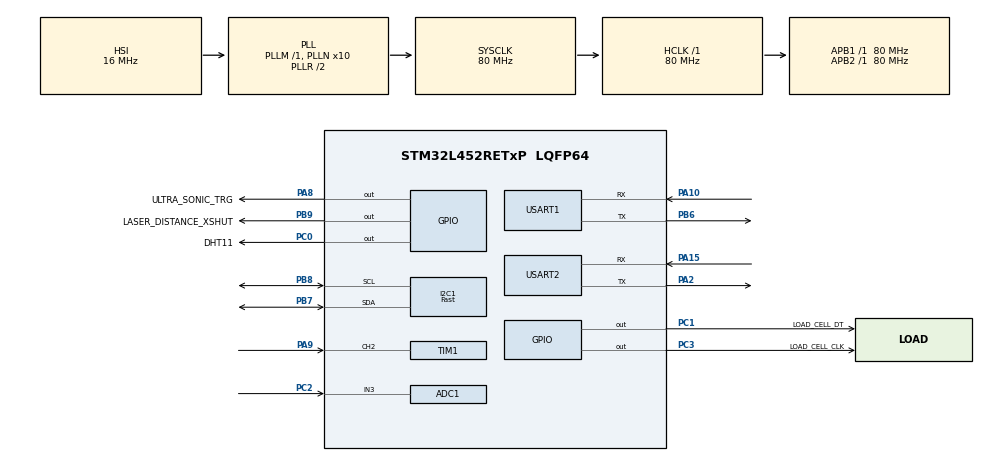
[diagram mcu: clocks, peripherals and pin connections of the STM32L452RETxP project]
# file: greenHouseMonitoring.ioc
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ADC1.Channel-4\#ChannelRegularConversion=ADC_CHANNEL_3
ADC1.NbrOfConversionFlag=1
ADC1.OffsetNumber-4\#ChannelRegularConversion=ADC_OFFSET_NONE
ADC1.Rank-4\#ChannelRegularConversion=1
ADC1.SamplingTime-4\#ChannelRegularConversion=ADC_SAMPLETIME_12CYCLES_5
ADC1.master=1
I2C1.I2C_Speed_Mode=I2C_Fast
I2C1.Timing=0x00702991
Mcu.Family=STM32L4
Mcu.Name=STM32L452RETxP
Mcu.Package=LQFP64
NVIC.PriorityGroup=NVIC_PRIORITYGROUP_4
NVIC.TIM1_CC_IRQn=true\:0\:0\:false\:false\:true\:true\:true
NVIC.USART1_IRQn=true\:0\:0\:false\:false\:true\:true\:true
PA10.Mode=Asynchronous
PA10.Signal=USART1_RX
PA15\ (JTDI).Mode=Asynchronous
PA15\ (JTDI).Signal=USART2_RX
PA2.Mode=Asynchronous
PA2.Signal=USART2_TX
PA8.GPIO_Label=ULTRA_SONIC_TRG
PA8.Signal=GPIO_Output
PA9.Signal=S_TIM1_CH2
PB6.Mode=Asynchronous
PB6.Signal=USART1_TX
PB7.Mode=I2C
PB7.Signal=I2C1_SDA
PB8.Mode=I2C
PB8.Signal=I2C1_SCL
PB9.GPIO_Label=LASER_DISTANCE_XSHUT
PB9.Signal=GPIO_Output
PC0.GPIO_Label=DHT11
PC0.Signal=GPIO_Output
PC1.GPIO_Label=LOAD_CELL_DT
PC1.Signal=GPIO_Output
PC2.Signal=ADCx_IN3
PC3.GPIO_Label=LOAD_CELL_CLK
PC3.Signal=GPIO_Output
ProjectManager.HeapSize=0x200
ProjectManager.StackSize=0x400
ProjectManager.TargetToolchain=TrueSTUDIO
RCC.ADCFreq_Value=64000000
RCC.AHBFreq_Value=80000000
RCC.APB1Freq_Value=80000000
RCC.APB1TimFreq_Value=80000000
RCC.APB2Freq_Value=80000000
RCC.APB2TimFreq_Value=80000000
RCC.CortexFreq_Value=80000000
RCC.HCLKFreq_Value=80000000
RCC.HSE_VALUE=8000000
RCC.HSI48_VALUE=48000000
RCC.HSI_VALUE=16000000
RCC.LSE_VALUE=32768
RCC.MSI_VALUE=4000000
RCC.PLLN=10
RCC.PLLSourceVirtual=RCC_PLLSOURCE_HSI
RCC.PREFETCH_ENABLE=1
RCC.SYSCLKFreq_VALUE=80000000
RCC.SYSCLKSource=RCC_SYSCLKSOURCE_PLLCLK
RCC.USBFreq_Value=64000000
RCC.VCOOutputFreq_Value=160000000
SH.ADCx_IN3.0=ADC1_IN3,IN3-Single-Ended
SH.S_TIM1_CH2.0=TIM1_CH2,Input_Capture2_from_TI2
TIM1.Channel-Input_Capture2_from_TI2=TIM_CHANNEL_2
TIM1.Prescaler=80-1
TIM6.Prescaler=80-1
USART1.VirtualMode-Asynchronous=VM_ASYNC
USART2.VirtualMode-Asynchronous=VM_ASYNC
VP_RTC_VS_RTC_Activate.Mode=RTC_Enabled
VP_TIM6_VS_ClockSourceINT.Mode=Enable_Timer
board=NUCLEO-L452RE-P

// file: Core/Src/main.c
/* USER CODE BEGIN Header */
/**
  ******************************************************************************
  * @file           : main.c
  * @brief          : Main program body
  ******************************************************************************
  * @attention
  *
  * <h2><center>&copy; Copyright (c) 2021 STMicroelectronics.
  * All rights reserved.</center></h2>
  *
  * This software component is licensed by ST under BSD 3-Clause license,
  * the "License"; You may not use this file except in compliance with the
  * License. You may obtain a copy of the License at:
  *                        opensource.org/licenses/BSD-3-Clause
  *
  ******************************************************************************
  */
/* USER CODE END Header */
#include "main.h"

/* USER CODE BEGIN Includes */
#include "stm32l452xx.h"
#include "stdio.h"
#include "string.h"
#include "VL53L0X.h"
#include "I2CDev.h"
#include "mk_dht11.h"
#include "hx711.h"
/* USER CODE END Includes */

/* USER CODE BEGIN PTD */

// sensor meresi adatok strukturaja
typedef struct
{
  uint16_t laser_sensor_distance;
  uint16_t ultra_sonic_sensor_distance;
  uint8_t temperature;
  uint8_t humidity;
  unsigned long weight;
  uint16_t moisture;
} SENSOR_VALUES_TYPE;

/* USER CODE END PTD */

/* USER CODE BEGIN PD */
#define LOAD_CELL_SCALE 379
#define DEVICE_ID 1
/* USER CODE END PD */

ADC_HandleTypeDef hadc1;

I2C_HandleTypeDef hi2c1;

RTC_HandleTypeDef hrtc;

TIM_HandleTypeDef htim1;
TIM_HandleTypeDef htim6;

UART_HandleTypeDef huart1;
UART_HandleTypeDef huart2;

/* USER CODE BEGIN PV */
// sensor struct peldany
SENSOR_VALUES_TYPE sensor_values;

// uj sor a kiiratas fuggvenyhez
char newLine [] = "\n\r";

// realtime clock datum es ido
RTC_DateTypeDef rtc_date;
RTC_TimeTypeDef rtc_time;

// meresi idokoz percben
uint8_t measurement_time = 10;

// laser distance sensor struct peldany
VL53L0X sensor1;

// ultra sonic sensor segedvaltozok
uint32_t ultra_sonic_rising = 0;
uint32_t ultra_sonic_falling = 0;
uint32_t ultrasonic_difference = 0;
uint8_t ultra_sonic_frist_captured = 0;

// DHT11-MK sensor struct peldany
dht11_t dht_sensor;

// HX711 loadcell struct peldany
HX711 loadcell_sensor;

// UART-on erkezett adatok tarolasa
char uart_buffer[10] = "";

// azonnali meres kezdemenyezese
uint8_t rapidMeasure;
/* USER CODE END PV */

void SystemClock_Config(void);
static void MX_GPIO_Init(void);
static void MX_ADC1_Init(void);
static void MX_I2C1_Init(void);
static void MX_RTC_Init(void);
static void MX_TIM1_Init(void);
static void MX_USART1_UART_Init(void);
static void MX_USART2_UART_Init(void);
static void MX_TIM6_Init(void);

/* USER CODE BEGIN 0 */
 /**
  * Uzenet kiirasa consolera UART2 keresztul
  *
  * @param char message[]
  */
  void PrintMessage(char message[])
  {
	  HAL_UART_Transmit(&huart2,message, strlen(message), HAL_MAX_DELAY);
  }

  /**
   * Szam kiirasa consolera UART2 keresztul
   *
   * @param uint16_t number
   */
  void PrintNumber(uint16_t number)
    {
	  char converted_number[6];
	  sprintf(converted_number, "%d", number);
  	  PrintMessage(converted_number);
    }

  /**
   * Uj sor kiirasa consolera UART2 keresztul
   */
  void PrintNewLine()
  {
	  HAL_UART_Transmit(&huart2, (uint8_t*)newLine, sizeof(newLine), HAL_MAX_DELAY);
  }

  /**
   * RTC ido lekerdezese
   */
  void getTime()
  {
	  HAL_RTC_GetTime(&hrtc, &rtc_time, RTC_FORMAT_BIN);
	  HAL_RTC_GetDate(&hrtc, &rtc_date, RTC_FORMAT_BIN);
  }

  /**
   * Laser distance sensor inicializalasa
   */
  void initLaserDistanceSensor()
  {
	  setup_VL53L0X(&sensor1);
	  HAL_GPIO_WritePin(LASER_DISTANCE_XSHUT_GPIO_Port, LASER_DISTANCE_XSHUT_Pin, GPIO_PIN_RESET);
	  HAL_Delay(100);

	  HAL_GPIO_WritePin(LASER_DISTANCE_XSHUT_GPIO_Port, LASER_DISTANCE_XSHUT_Pin, GPIO_PIN_SET);
	  HAL_Delay(100);
	  if(!init(&sensor1,true))
	  {
			  PrintMessage("Laser Distance sensor inicializalas sikertelen");
			  PrintNewLine();
	  }
	  else
	  {
		  PrintMessage("Laser Distance sensor inicializalas sikeres");
		  PrintNewLine();
	  }
	  setTimeout(&sensor1,500);

	  setVcselPulsePeriod(&sensor1,VcselPeriodPreRange, 18);
	  setVcselPulsePeriod(&sensor1,VcselPeriodFinalRange, 14);
	  setMeasurementTimingBudget(&sensor1,200000);
  }

  /**
   * Laser distance sensor ertek beolvasas
   */
  void readLaserDistanceValue()
  {
	  sensor_values.laser_sensor_distance = readRangeSingleMillimeters(&sensor1);
  }

  /**
   * Ultrasonic distance sensor ertek beolvasas
   */
  void ultraSonicDisctanceRead(void) {
  	HAL_GPIO_WritePin(ULTRA_SONIC_TRG_GPIO_Port, ULTRA_SONIC_TRG_Pin, GPIO_PIN_SET);
  	HAL_Delay(100);
  	HAL_GPIO_WritePin(ULTRA_SONIC_TRG_GPIO_Port, ULTRA_SONIC_TRG_Pin, GPIO_PIN_RESET);
  	__HAL_TIM_ENABLE_IT(&htim1, TIM_IT_CC2);
  }

  /**
   * Homerseklet es paratartalom ertek beolvasas
   */
  void measureTemperatureAndHumidity()
  {
	  readDHT11(&dht_sensor);
	  sensor_values.temperature = dht_sensor.temperature;
	  sensor_values.humidity = dht_sensor.humidty;
  }

  /**
   * Suly cella inicializalas
   */
  void loadCellInit()
  {
	  loadcell_sensor.gpioData = LOAD_CELL_DT_GPIO_Port;
	  loadcell_sensor.gpioSck = LOAD_CELL_CLK_GPIO_Port;
	  loadcell_sensor.pinData = LOAD_CELL_DT_Pin;
	  loadcell_sensor.pinSck = LOAD_CELL_CLK_Pin;
	  loadcell_sensor.gain = 128;
	  loadcell_sensor.offset = 0;

	  HX711_Init(loadcell_sensor);
	  HAL_Delay(2000);
	  loadcell_sensor =  HX711_Tare(loadcell_sensor, 1);

  }

  /**
   * Tomeg mero cella ertek beolvasas es skalazasa
   */
  void measureWeight()
  {
	  sensor_values.weight = ((HX711_Value(loadcell_sensor) - (unsigned long)loadcell_sensor.offset) / LOAD_CELL_SCALE);
  }

  /**
   * Fold nedvesseg ertek beolvasas
   */
  void measureSoilMoisture()
  {
	  HAL_ADC_Start(&hadc1);
	  sensor_values.moisture =  HAL_ADC_GetValue(&hadc1);
	  HAL_ADC_Stop(&hadc1);
  }

  /**
   * JSON adat kuldese az ESP32 mikrovezerlonek
   */
  void sendJSONData()
  {
	  char jsonData[1000]= "";
	  sprintf(jsonData,
			  "{\"deviceId\": %d, \"laserDistance\": %d, \"sonicDistance\": %d,"
			  " \"temperature\": %d, \"humidity\": %d, \"weight\": %d, \"moisture\": %d}",
			  DEVICE_ID,
			  sensor_values.laser_sensor_distance,
			  sensor_values.ultra_sonic_sensor_distance,
			  sensor_values.temperature,
			  sensor_values.humidity,
			  sensor_values.weight,
			  sensor_values.moisture
			  );
	  HAL_UART_Transmit(&huart1, jsonData, strlen(jsonData), HAL_MAX_DELAY);
  }

  /**
   * Az osszes sensor adat beolvasasa
   */
  void measureAllData() {
	  readLaserDistanceValue();
	  PrintMessage("laser sensor ertek: ");
	  PrintNumber(sensor_values.laser_sensor_distance);
	  PrintNewLine();
	  ultraSonicDisctanceRead();
	  PrintMessage("us sensor ertek: ");
	  PrintNumber(sensor_values.ultra_sonic_sensor_distance);
	  PrintNewLine();
	  measureTemperatureAndHumidity();
	  PrintMessage("temp sensor ertek: ");
	  PrintNumber(sensor_values.temperature);
	  PrintNewLine();
	  PrintMessage("hum sensor ertek: ");
	  PrintNumber(sensor_values.humidity);
	  PrintNewLine();
	  measureWeight();
	  PrintMessage("weight sensor ertek: ");
	  PrintNumber(sensor_values.weight);
	  PrintNewLine();
	  measureSoilMoisture();
	  PrintMessage("moisture sensor ertek: ");
	  PrintNumber(sensor_values.moisture);
	  PrintNewLine();
  }

  void I2C_Read_Byte(uint8_t addr,uint8_t *data)
  {
   while (HAL_I2C_GetState(&hi2c1) != HAL_I2C_STATE_READY);
  if(HAL_I2C_Master_Transmit(&hi2c1,  SLAVE_ADDRESS<<1 , &addr,  1, 100)!=HAL_OK)
    {
        _Error_Handler(__FILE__, __LINE__);
    }
  while (HAL_I2C_GetState(&hi2c1) != HAL_I2C_STATE_READY);
  if(HAL_I2C_Master_Receive(&hi2c1, ((SLAVE_ADDRESS <<1) | 0x01), data, 1, 100)!=HAL_OK)
    {
       _Error_Handler(__FILE__, __LINE__);
    }
  }

  void I2C_Write_Byte(uint8_t addr, uint8_t data)
  {
    uint8_t buf[] = {addr, data};
    while (HAL_I2C_GetState(&hi2c1) != HAL_I2C_STATE_READY);
    if(HAL_I2C_Master_Transmit(&hi2c1, SLAVE_ADDRESS<<1, buf, 2, 100)!=HAL_OK)
      {
        _Error_Handler(__FILE__, __LINE__);
      }
  }

  void readMulti(VL53L0X * lidar,uint8_t reg, uint8_t * dst, uint8_t count)
   {
       /* Send register address */
       if (HAL_I2C_Master_Transmit(&hi2c1, SLAVE_ADDRESS<<1, &reg, 1, 1000) != HAL_OK)
         {
           {
               _Error_Handler(__FILE__, __LINE__);
           }
         }

       /* Receive multiple byte */
       if (HAL_I2C_Master_Receive(&hi2c1, ((SLAVE_ADDRESS <<1) | 0x01), dst, count, 1000) != HAL_OK)
         {
            _Error_Handler(__FILE__, __LINE__);
         }
   }

   void writeMulti(VL53L0X * lidar,uint8_t reg, uint8_t* src, uint8_t count)
   {
            /* Try to transmit via I2C */
           if(HAL_I2C_Mem_Write(&hi2c1, SLAVE_ADDRESS<<1, reg, reg>0xFF ? I2C_MEMADD_SIZE_16BIT : I2C_MEMADD_SIZE_8BIT, src, count, 1000) != HAL_OK)
               {
                  _Error_Handler(__FILE__, __LINE__);
               }

   }
/* USER CODE END 0 */

int main(void)
{

  /* MCU Configuration--------------------------------------------------------*/

  /* Reset of all peripherals, Initializes the Flash interface and the Systick. */
   HAL_Init();

  /* Configure the system clock */
  SystemClock_Config();

  /* Initialize all configured peripherals */
  MX_GPIO_Init();
  MX_ADC1_Init();
  MX_I2C1_Init();
  MX_RTC_Init();
  MX_TIM1_Init();
  MX_USART1_UART_Init();
  MX_USART2_UART_Init();
  MX_TIM6_Init();
  /* USER CODE BEGIN 2 */

  // sensor inicializalasok
  initLaserDistanceSensor();
  HAL_TIM_IC_Start_IT(&htim1, TIM_CHANNEL_2);
  init_dht11(&dht_sensor, &htim6, DHT11_GPIO_Port, DHT11_Pin);
  loadCellInit();
  measureAllData();
  HAL_UART_Receive_IT(&huart1, uart_buffer, 2);
  HAL_UART_Transmit(&huart1, "S", 1, HAL_MAX_DELAY);
  /* USER CODE END 2 */

  /* Infinite loop */
  while (1)
  {

    /* USER CODE BEGIN 3 */
	  if((rtc_time.Seconds == 0 && (rtc_time.Minutes % measurement_time) == 0))
	  {
		  measureAllData();
		  sendJSONData();
	  }

	  if(rapidMeasure == 1)
	  {
		measureAllData();
		sendJSONData();
		rapidMeasure = 0;
	  }

	  getTime();
	  HAL_Delay(1000);
  }
  /* USER CODE END 3 */
}

void SystemClock_Config(void)
{
  RCC_OscInitTypeDef RCC_OscInitStruct = {0};
  RCC_ClkInitTypeDef RCC_ClkInitStruct = {0};
  RCC_PeriphCLKInitTypeDef PeriphClkInit = {0};

  /** Initializes the RCC Oscillators according to the specified parameters
  * in the RCC_OscInitTypeDef structure.
  */
  RCC_OscInitStruct.OscillatorType = RCC_OSCILLATORTYPE_HSI|RCC_OSCILLATORTYPE_LSI;
  RCC_OscInitStruct.HSIState = RCC_HSI_ON;
  RCC_OscInitStruct.HSICalibrationValue = RCC_HSICALIBRATION_DEFAULT;
  RCC_OscInitStruct.LSIState = RCC_LSI_ON;
  RCC_OscInitStruct.PLL.PLLState = RCC_PLL_ON;
  RCC_OscInitStruct.PLL.PLLSource = RCC_PLLSOURCE_HSI;
  RCC_OscInitStruct.PLL.PLLM = 1;
  RCC_OscInitStruct.PLL.PLLN = 10;
  RCC_OscInitStruct.PLL.PLLP = RCC_PLLP_DIV7;
  RCC_OscInitStruct.PLL.PLLQ = RCC_PLLQ_DIV2;
  RCC_OscInitStruct.PLL.PLLR = RCC_PLLR_DIV2;
  if (HAL_RCC_OscConfig(&RCC_OscInitStruct) != HAL_OK)
  {
    Error_Handler();
  }
  /** Initializes the CPU, AHB and APB buses clocks
  */
  RCC_ClkInitStruct.ClockType = RCC_CLOCKTYPE_HCLK|RCC_CLOCKTYPE_SYSCLK
                              |RCC_CLOCKTYPE_PCLK1|RCC_CLOCKTYPE_PCLK2;
  RCC_ClkInitStruct.SYSCLKSource = RCC_SYSCLKSOURCE_PLLCLK;
  RCC_ClkInitStruct.AHBCLKDivider = RCC_SYSCLK_DIV1;
  RCC_ClkInitStruct.APB1CLKDivider = RCC_HCLK_DIV1;
  RCC_ClkInitStruct.APB2CLKDivider = RCC_HCLK_DIV1;

  if (HAL_RCC_ClockConfig(&RCC_ClkInitStruct, FLASH_LATENCY_4) != HAL_OK)
  {
    Error_Handler();
  }
  PeriphClkInit.PeriphClockSelection = RCC_PERIPHCLK_RTC|RCC_PERIPHCLK_USART1
                              |RCC_PERIPHCLK_USART2|RCC_PERIPHCLK_I2C1
                              |RCC_PERIPHCLK_ADC;
  PeriphClkInit.Usart1ClockSelection = RCC_USART1CLKSOURCE_PCLK2;
  PeriphClkInit.Usart2ClockSelection = RCC_USART2CLKSOURCE_PCLK1;
  PeriphClkInit.I2c1ClockSelection = RCC_I2C1CLKSOURCE_PCLK1;
  PeriphClkInit.AdcClockSelection = RCC_ADCCLKSOURCE_PLLSAI1;
  PeriphClkInit.RTCClockSelection = RCC_RTCCLKSOURCE_LSI;
  PeriphClkInit.PLLSAI1.PLLSAI1Source = RCC_PLLSOURCE_HSI;
  PeriphClkInit.PLLSAI1.PLLSAI1M = 1;
  PeriphClkInit.PLLSAI1.PLLSAI1N = 8;
  PeriphClkInit.PLLSAI1.PLLSAI1P = RCC_PLLP_DIV7;
  PeriphClkInit.PLLSAI1.PLLSAI1Q = RCC_PLLQ_DIV2;
  PeriphClkInit.PLLSAI1.PLLSAI1R = RCC_PLLR_DIV2;
  PeriphClkInit.PLLSAI1.PLLSAI1ClockOut = RCC_PLLSAI1_ADC1CLK;
  if (HAL_RCCEx_PeriphCLKConfig(&PeriphClkInit) != HAL_OK)
  {
    Error_Handler();
  }
  /** Configure the main internal regulator output voltage
  */
  if (HAL_PWREx_ControlVoltageScaling(PWR_REGULATOR_VOLTAGE_SCALE1) != HAL_OK)
  {
    Error_Handler();
  }
}

static void MX_ADC1_Init(void)
{

  ADC_ChannelConfTypeDef sConfig = {0};

  /** Common config
  */
  hadc1.Instance = ADC1;
  hadc1.Init.ClockPrescaler = ADC_CLOCK_ASYNC_DIV1;
  hadc1.Init.Resolution = ADC_RESOLUTION_12B;
  hadc1.Init.DataAlign = ADC_DATAALIGN_RIGHT;
  hadc1.Init.ScanConvMode = ADC_SCAN_DISABLE;
  hadc1.Init.EOCSelection = ADC_EOC_SINGLE_CONV;
  hadc1.Init.LowPowerAutoWait = DISABLE;
  hadc1.Init.ContinuousConvMode = DISABLE;
  hadc1.Init.NbrOfConversion = 1;
  hadc1.Init.DiscontinuousConvMode = DISABLE;
  hadc1.Init.ExternalTrigConv = ADC_SOFTWARE_START;
  hadc1.Init.ExternalTrigConvEdge = ADC_EXTERNALTRIGCONVEDGE_NONE;
  hadc1.Init.DMAContinuousRequests = DISABLE;
  hadc1.Init.Overrun = ADC_OVR_DATA_PRESERVED;
  hadc1.Init.OversamplingMode = DISABLE;
  if (HAL_ADC_Init(&hadc1) != HAL_OK)
  {
    Error_Handler();
  }
  /** Configure Regular Channel
  */
  sConfig.Channel = ADC_CHANNEL_3;
  sConfig.Rank = ADC_REGULAR_RANK_1;
  sConfig.SamplingTime = ADC_SAMPLETIME_12CYCLES_5;
  sConfig.SingleDiff = ADC_SINGLE_ENDED;
  sConfig.OffsetNumber = ADC_OFFSET_NONE;
  sConfig.Offset = 0;
  if (HAL_ADC_ConfigChannel(&hadc1, &sConfig) != HAL_OK)
  {
    Error_Handler();
  }

}

static void MX_I2C1_Init(void)
{

  hi2c1.Instance = I2C1;
  hi2c1.Init.Timing = 0x00702991;
  hi2c1.Init.OwnAddress1 = 0;
  hi2c1.Init.AddressingMode = I2C_ADDRESSINGMODE_7BIT;
  hi2c1.Init.DualAddressMode = I2C_DUALADDRESS_DISABLE;
  hi2c1.Init.OwnAddress2 = 0;
  hi2c1.Init.OwnAddress2Masks = I2C_OA2_NOMASK;
  hi2c1.Init.GeneralCallMode = I2C_GENERALCALL_DISABLE;
  hi2c1.Init.NoStretchMode = I2C_NOSTRETCH_DISABLE;
  if (HAL_I2C_Init(&hi2c1) != HAL_OK)
  {
    Error_Handler();
  }
  /** Configure Analogue filter
  */
  if (HAL_I2CEx_ConfigAnalogFilter(&hi2c1, I2C_ANALOGFILTER_ENABLE) != HAL_OK)
  {
    Error_Handler();
  }
  /** Configure Digital filter
  */
  if (HAL_I2CEx_ConfigDigitalFilter(&hi2c1, 0) != HAL_OK)
  {
    Error_Handler();
  }

}

static void MX_RTC_Init(void)
{

  /** Initialize RTC Only
  */
  hrtc.Instance = RTC;
  hrtc.Init.HourFormat = RTC_HOURFORMAT_24;
  hrtc.Init.AsynchPrediv = 127;
  hrtc.Init.SynchPrediv = 255;
  hrtc.Init.OutPut = RTC_OUTPUT_DISABLE;
  hrtc.Init.OutPutRemap = RTC_OUTPUT_REMAP_NONE;
  hrtc.Init.OutPutPolarity = RTC_OUTPUT_POLARITY_HIGH;
  hrtc.Init.OutPutType = RTC_OUTPUT_TYPE_OPENDRAIN;
  if (HAL_RTC_Init(&hrtc) != HAL_OK)
  {
    Error_Handler();
  }

}

static void MX_TIM1_Init(void)
{

  TIM_MasterConfigTypeDef sMasterConfig = {0};
  TIM_IC_InitTypeDef sConfigIC = {0};

  htim1.Instance = TIM1;
  htim1.Init.Prescaler = 80-1;
  htim1.Init.CounterMode = TIM_COUNTERMODE_UP;
  htim1.Init.Period = 65535;
  htim1.Init.ClockDivision = TIM_CLOCKDIVISION_DIV1;
  htim1.Init.RepetitionCounter = 0;
  htim1.Init.AutoReloadPreload = TIM_AUTORELOAD_PRELOAD_DISABLE;
  if (HAL_TIM_IC_Init(&htim1) != HAL_OK)
  {
    Error_Handler();
  }
  sMasterConfig.MasterOutputTrigger = TIM_TRGO_RESET;
  sMasterConfig.MasterOutputTrigger2 = TIM_TRGO2_RESET;
  sMasterConfig.MasterSlaveMode = TIM_MASTERSLAVEMODE_DISABLE;
  if (HAL_TIMEx_MasterConfigSynchronization(&htim1, &sMasterConfig) != HAL_OK)
  {
    Error_Handler();
  }
  sConfigIC.ICPolarity = TIM_INPUTCHANNELPOLARITY_RISING;
  sConfigIC.ICSelection = TIM_ICSELECTION_DIRECTTI;
  sConfigIC.ICPrescaler = TIM_ICPSC_DIV1;
  sConfigIC.ICFilter = 0;
  if (HAL_TIM_IC_ConfigChannel(&htim1, &sConfigIC, TIM_CHANNEL_2) != HAL_OK)
  {
    Error_Handler();
  }

}

static void MX_TIM6_Init(void)
{

  TIM_MasterConfigTypeDef sMasterConfig = {0};

  htim6.Instance = TIM6;
  htim6.Init.Prescaler = 80-1;
  htim6.Init.CounterMode = TIM_COUNTERMODE_UP;
  htim6.Init.Period = 65535;
  htim6.Init.AutoReloadPreload = TIM_AUTORELOAD_PRELOAD_DISABLE;
  if (HAL_TIM_Base_Init(&htim6) != HAL_OK)
  {
    Error_Handler();
  }
  sMasterConfig.MasterOutputTrigger = TIM_TRGO_RESET;
  sMasterConfig.MasterSlaveMode = TIM_MASTERSLAVEMODE_DISABLE;
  if (HAL_TIMEx_MasterConfigSynchronization(&htim6, &sMasterConfig) != HAL_OK)
  {
    Error_Handler();
  }

}

static void MX_USART1_UART_Init(void)
{

  huart1.Instance = USART1;
  huart1.Init.BaudRate = 115200;
  huart1.Init.WordLength = UART_WORDLENGTH_8B;
  huart1.Init.StopBits = UART_STOPBITS_1;
  huart1.Init.Parity = UART_PARITY_NONE;
  huart1.Init.Mode = UART_MODE_TX_RX;
  huart1.Init.HwFlowCtl = UART_HWCONTROL_NONE;
  huart1.Init.OverSampling = UART_OVERSAMPLING_16;
  huart1.Init.OneBitSampling = UART_ONE_BIT_SAMPLE_DISABLE;
  huart1.AdvancedInit.AdvFeatureInit = UART_ADVFEATURE_NO_INIT;
  if (HAL_UART_Init(&huart1) != HAL_OK)
  {
    Error_Handler();
  }

}

static void MX_USART2_UART_Init(void)
{

  huart2.Instance = USART2;
  huart2.Init.BaudRate = 115200;
  huart2.Init.WordLength = UART_WORDLENGTH_8B;
  huart2.Init.StopBits = UART_STOPBITS_1;
  huart2.Init.Parity = UART_PARITY_NONE;
  huart2.Init.Mode = UART_MODE_TX_RX;
  huart2.Init.HwFlowCtl = UART_HWCONTROL_NONE;
  huart2.Init.OverSampling = UART_OVERSAMPLING_16;
  huart2.Init.OneBitSampling = UART_ONE_BIT_SAMPLE_DISABLE;
  huart2.AdvancedInit.AdvFeatureInit = UART_ADVFEATURE_NO_INIT;
  if (HAL_UART_Init(&huart2) != HAL_OK)
  {
    Error_Handler();
  }

}

static void MX_GPIO_Init(void)
{
  GPIO_InitTypeDef GPIO_InitStruct = {0};

  /* GPIO Ports Clock Enable */
  __HAL_RCC_GPIOC_CLK_ENABLE();
  __HAL_RCC_GPIOA_CLK_ENABLE();
  __HAL_RCC_GPIOB_CLK_ENABLE();

  /*Configure GPIO pin Output Level */
  HAL_GPIO_WritePin(GPIOC, DHT11_Pin|LOAD_CELL_DT_Pin|LOAD_CELL_CLK_Pin, GPIO_PIN_RESET);

  /*Configure GPIO pin Output Level */
  HAL_GPIO_WritePin(ULTRA_SONIC_TRG_GPIO_Port, ULTRA_SONIC_TRG_Pin, GPIO_PIN_RESET);

  /*Configure GPIO pin Output Level */
  HAL_GPIO_WritePin(LASER_DISTANCE_XSHUT_GPIO_Port, LASER_DISTANCE_XSHUT_Pin, GPIO_PIN_RESET);

  /*Configure GPIO pins : DHT11_Pin LOAD_CELL_DT_Pin LOAD_CELL_CLK_Pin */
  GPIO_InitStruct.Pin = DHT11_Pin|LOAD_CELL_DT_Pin|LOAD_CELL_CLK_Pin;
  GPIO_InitStruct.Mode = GPIO_MODE_OUTPUT_PP;
  GPIO_InitStruct.Pull = GPIO_NOPULL;
  GPIO_InitStruct.Speed = GPIO_SPEED_FREQ_LOW;
  HAL_GPIO_Init(GPIOC, &GPIO_InitStruct);

  /*Configure GPIO pin : ULTRA_SONIC_TRG_Pin */
  GPIO_InitStruct.Pin = ULTRA_SONIC_TRG_Pin;
  GPIO_InitStruct.Mode = GPIO_MODE_OUTPUT_PP;
  GPIO_InitStruct.Pull = GPIO_NOPULL;
  GPIO_InitStruct.Speed = GPIO_SPEED_FREQ_LOW;
  HAL_GPIO_Init(ULTRA_SONIC_TRG_GPIO_Port, &GPIO_InitStruct);

  /*Configure GPIO pin : LASER_DISTANCE_XSHUT_Pin */
  GPIO_InitStruct.Pin = LASER_DISTANCE_XSHUT_Pin;
  GPIO_InitStruct.Mode = GPIO_MODE_OUTPUT_PP;
  GPIO_InitStruct.Pull = GPIO_NOPULL;
  GPIO_InitStruct.Speed = GPIO_SPEED_FREQ_LOW;
  HAL_GPIO_Init(LASER_DISTANCE_XSHUT_GPIO_Port, &GPIO_InitStruct);

}

/* USER CODE BEGIN 4 */
void _Error_Handler(char *file, int line)
{
  /* USER CODE END Error_Handler_Debug */
}

// Timer az ultrahang tavolsag szenzor ertekenek olvasasara
void HAL_TIM_IC_CaptureCallback(TIM_HandleTypeDef *htim) {

	if (htim->Channel == HAL_TIM_ACTIVE_CHANNEL_2) {
		if (ultra_sonic_frist_captured == 0) {
			ultra_sonic_rising = HAL_TIM_ReadCapturedValue(htim, TIM_CHANNEL_2);
			ultra_sonic_frist_captured = 1;
			__HAL_TIM_SET_CAPTUREPOLARITY(htim, TIM_CHANNEL_2,
					TIM_INPUTCHANNELPOLARITY_FALLING);
		} else if (ultra_sonic_frist_captured) {
			ultra_sonic_falling = HAL_TIM_ReadCapturedValue(htim, TIM_CHANNEL_2);
			__HAL_TIM_SET_COUNTER(htim, 0);
			if (ultra_sonic_falling > ultra_sonic_rising) {
				ultrasonic_difference = ultra_sonic_falling - ultra_sonic_rising;
			} else if (ultra_sonic_rising > ultra_sonic_falling) {
				ultrasonic_difference = (65535 - ultra_sonic_rising) + ultra_sonic_falling;
			}
			sensor_values.ultra_sonic_sensor_distance = ultrasonic_difference * 0.34 / 2;
			ultra_sonic_frist_captured = 0;
			__HAL_TIM_SET_CAPTUREPOLARITY(htim, TIM_CHANNEL_2,
					TIM_INPUTCHANNELPOLARITY_RISING);
			__HAL_TIM_DISABLE_IT(htim, TIM_IT_CC2);

		}
	}
}

// Interrupt callback az UART-on erkezo adatokra
void HAL_UART_RxCpltCallback(UART_HandleTypeDef *huart)
{
    HAL_UART_Receive_IT(&huart1, uart_buffer, 2);

	if (uart_buffer[0] == '0')
	{
		rapidMeasure = 1;
	}
	else
	{
		sscanf (uart_buffer,"%d",&measurement_time);
	}
}
/* USER CODE END 4 */

void Error_Handler(void)
{
  __disable_irq();
  while (1)
  {
  }
}

/************************ (C) COPYRIGHT STMicroelectronics *****END OF FILE****/
